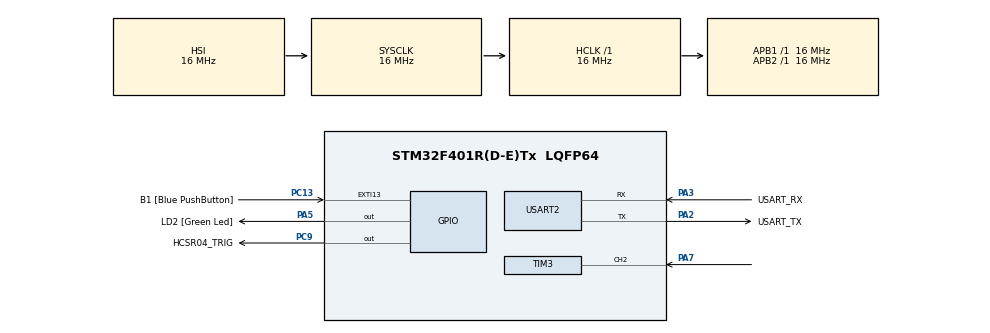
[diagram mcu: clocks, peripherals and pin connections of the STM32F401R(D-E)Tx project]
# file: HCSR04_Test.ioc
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Mcu.Family=STM32F4
Mcu.Name=STM32F401R(D-E)Tx
Mcu.Package=LQFP64
NVIC.PriorityGroup=NVIC_PRIORITYGROUP_4
NVIC.TIM3_IRQn=true\:0\:0\:false\:false\:true\:true\:true\:true
PA13.GPIO_Label=TMS
PA13.Mode=Trace_Asynchronous_SW
PA13.Signal=SYS_JTMS-SWDIO
PA14.GPIO_Label=TCK
PA14.Mode=Trace_Asynchronous_SW
PA14.Signal=SYS_JTCK-SWCLK
PA2.GPIO_Label=USART_TX
PA2.GPIO_Mode=GPIO_MODE_AF_PP
PA2.GPIO_PuPd=GPIO_NOPULL
PA2.GPIO_Speed=GPIO_SPEED_FREQ_LOW
PA2.Mode=Asynchronous
PA2.Signal=USART2_TX
PA3.GPIO_Label=USART_RX
PA3.GPIO_Mode=GPIO_MODE_AF_PP
PA3.GPIO_PuPd=GPIO_NOPULL
PA3.GPIO_Speed=GPIO_SPEED_FREQ_LOW
PA3.Mode=Asynchronous
PA3.Signal=USART2_RX
PA5.GPIO_Label=LD2 [Green Led]
PA5.GPIO_Mode=GPIO_MODE_OUTPUT_PP
PA5.GPIO_PuPd=GPIO_NOPULL
PA5.GPIO_Speed=GPIO_SPEED_FREQ_LOW
PA5.Signal=GPIO_Output
PA7.Signal=S_TIM3_CH2
PB3.GPIO_Label=SWO
PB3.Mode=Trace_Asynchronous_SW
PB3.Signal=SYS_JTDO-SWO
PC13-ANTI_TAMP.GPIO_Label=B1 [Blue PushButton]
PC13-ANTI_TAMP.GPIO_ModeDefaultEXTI=GPIO_MODE_IT_FALLING
PC13-ANTI_TAMP.GPIO_PuPd=GPIO_NOPULL
PC13-ANTI_TAMP.Signal=GPXTI13
PC14-OSC32_IN.Mode=LSE-External-Oscillator
PC14-OSC32_IN.Signal=RCC_OSC32_IN
PC15-OSC32_OUT.Mode=LSE-External-Oscillator
PC15-OSC32_OUT.Signal=RCC_OSC32_OUT
PC9.GPIO_Label=HCSR04_TRIG
PC9.Signal=GPIO_Output
PH0\ -\ OSC_IN.Mode=HSE-External-Clock-Source
PH0\ -\ OSC_IN.Signal=RCC_OSC_IN
PH1\ -\ OSC_OUT.Mode=HSE-External-Clock-Source
PH1\ -\ OSC_OUT.Signal=RCC_OSC_OUT
ProjectManager.HeapSize=0x200
ProjectManager.StackSize=0x400
ProjectManager.TargetToolchain=STM32CubeIDE
RCC.48MHZClocksFreq_Value=48000000
RCC.AHBFreq_Value=16000000
RCC.APB1Freq_Value=16000000
RCC.APB1TimFreq_Value=16000000
RCC.APB2Freq_Value=16000000
RCC.APB2TimFreq_Value=16000000
RCC.CortexFreq_Value=16000000
RCC.HCLKFreq_Value=16000000
RCC.HSE_VALUE=8000000
RCC.HSI_VALUE=16000000
RCC.PLLN=336
RCC.PLLP=RCC_PLLP_DIV4
RCC.PLLQ=7
RCC.SYSCLKFreq_VALUE=16000000
RCC.VCOOutputFreq_Value=336000000
SH.S_TIM3_CH2.0=TIM3_CH2,Input_Capture2_from_TI2
TIM3.Channel-Input_Capture2_from_TI2=TIM_CHANNEL_2
TIM3.ICPolarity_CH2=TIM_INPUTCHANNELPOLARITY_BOTHEDGE
TIM3.Period=65536-1
TIM3.Prescaler=16-1
USART2.VirtualMode=VM_ASYNC
VP_TIM3_VS_ClockSourceINT.Mode=Internal
board=NUCLEO-F401RE

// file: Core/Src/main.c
/* USER CODE BEGIN Header */
/**
  ******************************************************************************
  * @file           : main.c
  * @brief          : Main program body
  ******************************************************************************
  * @attention
  *
  * Copyright (c) 2025 STMicroelectronics.
  * All rights reserved.
  *
  * This software is licensed under terms that can be found in the LICENSE file
  * in the root directory of this software component.
  * If no LICENSE file comes with this software, it is provided AS-IS.
  *
  ******************************************************************************
  */
/* USER CODE END Header */
#include "main.h"

/* USER CODE BEGIN Includes */
#include <string.h>
#include <stdio.h>
/* USER CODE END Includes */

TIM_HandleTypeDef htim3;

UART_HandleTypeDef huart2;

void SystemClock_Config(void);
static void MX_GPIO_Init(void);
static void MX_USART2_UART_Init(void);
static void MX_TIM3_Init(void);
//static void HCSR04_TRIG_PULSE(void); // Declare the pulse generation function

/* USER CODE BEGIN 0 */
volatile uint8_t hcsr04_Rx_flag = 0;
volatile uint8_t 	  first_edge = 0;
volatile uint16_t 	  time_edge1 = 0;
volatile uint16_t 	  time_edge2 = 0;
/* USER CODE END 0 */

int main(void)
{

  /* USER CODE BEGIN 1 */
uint16_t	time_diff = 0;
uint16_t	distance = 0;
uint8_t	txd_msg_buffer[64] = {0};

//subroutine for the hscr04 trig pulse
void HCSR04_TRIG_PULSE(void){
	HAL_GPIO_WritePin(HCSR04_TRIG_GPIO_Port, HCSR04_TRIG_Pin, GPIO_PIN_SET);

	for (volatile int j = 0; j < 160; j++) {
	__NOP(); // high for 10us so that it can transmit ultrasonic burst
	}

	HAL_GPIO_WritePin(HCSR04_TRIG_GPIO_Port, HCSR04_TRIG_Pin, GPIO_PIN_RESET);
}

  /* USER CODE END 1 */

  /* MCU Configuration--------------------------------------------------------*/

  /* Reset of all peripherals, Initializes the Flash interface and the Systick. */
  HAL_Init();

  /* Configure the system clock */
  SystemClock_Config();

  /* Initialize all configured peripherals */
  MX_GPIO_Init();
  MX_USART2_UART_Init();
  MX_TIM3_Init();
  /* USER CODE BEGIN 2 */
//HAL_TIM_Base_Init(&htim3);
HAL_TIM_Base_Start(&htim3);
HAL_TIM_IC_Start_IT(&htim3, TIM_CHANNEL_2);
  /* USER CODE END 2 */

  /* Infinite loop */
  /* USER CODE BEGIN WHILE */
//uint8_t times = 0;
  while (1)
  {
	  hcsr04_Rx_flag = 0;
	  first_edge = 0;
	  time_edge1 = 0;
	  time_edge2 = 0;
	  time_diff = 0;
	  distance = 0;

	  HCSR04_TRIG_PULSE();

	  //sprintf((char*)txd_msg_buffer, " ENTER LOOP %d \r\n", times);

	  //HAL_UART_Transmit(&huart2, txd_msg_buffer, strlen((char*)txd_msg_buffer), 100);
	  //sprintf((char*)txd_msg_buffer, " Done Pulse\r\n", distance);
	  //HAL_UART_Transmit(&huart2, txd_msg_buffer, strlen((char*)txd_msg_buffer), 100); // Send to UART

	  while (hcsr04_Rx_flag == 0); // Wait until echo is received

	  /* Calculate time difference between edges */
	  if (time_edge2 > time_edge1)
	  {
	  time_diff = time_edge2 - time_edge1; // Normal case (no overflow)
	  }
	  else
	  {
	  time_diff = (0xFFFF - time_edge1) + time_edge2; // Handle overflow case
	  }

	  // print pulse width
	  sprintf((char*)txd_msg_buffer, "Pulse Width (usec): %d \r\n", time_diff);
	  HAL_UART_Transmit(&huart2, txd_msg_buffer, strlen((char*)txd_msg_buffer), 100); // Send to UART

	  // distance calc with speed of sound
	  distance = (time_diff * 0.0343) / 2; // speed of sound in air
	  //according to data sheet:
	  //distance = (time_diff/58);

	  // print distance to object
	  sprintf((char*)txd_msg_buffer, "DISTANCE TO OBJECT: %d cm\r\n", distance);
	  HAL_UART_Transmit(&huart2, txd_msg_buffer, strlen((char*)txd_msg_buffer), 100); // Send to UART

	  HAL_Delay(1000); // Wait 1 second before next measurement
	  }
	  }

void SystemClock_Config(void)
{
  RCC_OscInitTypeDef RCC_OscInitStruct = {0};
  RCC_ClkInitTypeDef RCC_ClkInitStruct = {0};

  /** Configure the main internal regulator output voltage
  */
  __HAL_RCC_PWR_CLK_ENABLE();
  __HAL_PWR_VOLTAGESCALING_CONFIG(PWR_REGULATOR_VOLTAGE_SCALE2);

  /** Initializes the RCC Oscillators according to the specified parameters
  * in the RCC_OscInitTypeDef structure.
  */
  RCC_OscInitStruct.OscillatorType = RCC_OSCILLATORTYPE_HSI;
  RCC_OscInitStruct.HSIState = RCC_HSI_ON;
  RCC_OscInitStruct.HSICalibrationValue = RCC_HSICALIBRATION_DEFAULT;
  RCC_OscInitStruct.PLL.PLLState = RCC_PLL_NONE;
  if (HAL_RCC_OscConfig(&RCC_OscInitStruct) != HAL_OK)
  {
    Error_Handler();
  }

  /** Initializes the CPU, AHB and APB buses clocks
  */
  RCC_ClkInitStruct.ClockType = RCC_CLOCKTYPE_HCLK|RCC_CLOCKTYPE_SYSCLK
                              |RCC_CLOCKTYPE_PCLK1|RCC_CLOCKTYPE_PCLK2;
  RCC_ClkInitStruct.SYSCLKSource = RCC_SYSCLKSOURCE_HSI;
  RCC_ClkInitStruct.AHBCLKDivider = RCC_SYSCLK_DIV1;
  RCC_ClkInitStruct.APB1CLKDivider = RCC_HCLK_DIV1;
  RCC_ClkInitStruct.APB2CLKDivider = RCC_HCLK_DIV1;

  if (HAL_RCC_ClockConfig(&RCC_ClkInitStruct, FLASH_LATENCY_0) != HAL_OK)
  {
    Error_Handler();
  }
}

static void MX_TIM3_Init(void)
{

  TIM_ClockConfigTypeDef sClockSourceConfig = {0};
  TIM_MasterConfigTypeDef sMasterConfig = {0};
  TIM_IC_InitTypeDef sConfigIC = {0};

  htim3.Instance = TIM3;
  htim3.Init.Prescaler = 16-1;
  htim3.Init.CounterMode = TIM_COUNTERMODE_UP;
  htim3.Init.Period = 65536-1;
  htim3.Init.ClockDivision = TIM_CLOCKDIVISION_DIV1;
  htim3.Init.AutoReloadPreload = TIM_AUTORELOAD_PRELOAD_DISABLE;
  if (HAL_TIM_Base_Init(&htim3) != HAL_OK)
  {
    Error_Handler();
  }
  sClockSourceConfig.ClockSource = TIM_CLOCKSOURCE_INTERNAL;
  if (HAL_TIM_ConfigClockSource(&htim3, &sClockSourceConfig) != HAL_OK)
  {
    Error_Handler();
  }
  if (HAL_TIM_IC_Init(&htim3) != HAL_OK)
  {
    Error_Handler();
  }
  sMasterConfig.MasterOutputTrigger = TIM_TRGO_RESET;
  sMasterConfig.MasterSlaveMode = TIM_MASTERSLAVEMODE_DISABLE;
  if (HAL_TIMEx_MasterConfigSynchronization(&htim3, &sMasterConfig) != HAL_OK)
  {
    Error_Handler();
  }
  sConfigIC.ICPolarity = TIM_INPUTCHANNELPOLARITY_BOTHEDGE;
  sConfigIC.ICSelection = TIM_ICSELECTION_DIRECTTI;
  sConfigIC.ICPrescaler = TIM_ICPSC_DIV1;
  sConfigIC.ICFilter = 0;
  if (HAL_TIM_IC_ConfigChannel(&htim3, &sConfigIC, TIM_CHANNEL_2) != HAL_OK)
  {
    Error_Handler();
  }

}

static void MX_USART2_UART_Init(void)
{

  huart2.Instance = USART2;
  huart2.Init.BaudRate = 115200;
  huart2.Init.WordLength = UART_WORDLENGTH_8B;
  huart2.Init.StopBits = UART_STOPBITS_1;
  huart2.Init.Parity = UART_PARITY_NONE;
  huart2.Init.Mode = UART_MODE_TX_RX;
  huart2.Init.HwFlowCtl = UART_HWCONTROL_NONE;
  huart2.Init.OverSampling = UART_OVERSAMPLING_16;
  if (HAL_UART_Init(&huart2) != HAL_OK)
  {
    Error_Handler();
  }

}

static void MX_GPIO_Init(void)
{
  GPIO_InitTypeDef GPIO_InitStruct = {0};

  /* GPIO Ports Clock Enable */
  __HAL_RCC_GPIOC_CLK_ENABLE();
  __HAL_RCC_GPIOH_CLK_ENABLE();
  __HAL_RCC_GPIOA_CLK_ENABLE();
  __HAL_RCC_GPIOB_CLK_ENABLE();

  /*Configure GPIO pin Output Level */
  HAL_GPIO_WritePin(LD2_GPIO_Port, LD2_Pin, GPIO_PIN_RESET);

  /*Configure GPIO pin Output Level */
  //HAL_GPIO_WritePin(HCSR04_TRIG_GPIO_Port, HCSR04_TRIG_Pin, GPIO_PIN_RESET);

  /*Configure GPIO pin : B1_Pin */
  GPIO_InitStruct.Pin = B1_Pin;
  GPIO_InitStruct.Mode = GPIO_MODE_IT_FALLING;
  GPIO_InitStruct.Pull = GPIO_NOPULL;
  HAL_GPIO_Init(B1_GPIO_Port, &GPIO_InitStruct);

  /*Configure GPIO pin : LD2_Pin */
  GPIO_InitStruct.Pin = LD2_Pin;
  GPIO_InitStruct.Mode = GPIO_MODE_OUTPUT_PP;
  GPIO_InitStruct.Pull = GPIO_NOPULL;
  GPIO_InitStruct.Speed = GPIO_SPEED_FREQ_LOW;
  HAL_GPIO_Init(LD2_GPIO_Port, &GPIO_InitStruct);

  /*Configure GPIO pin : HCSR04_TRIG_Pin */
  GPIO_InitStruct.Pin = HCSR04_TRIG_Pin;
  GPIO_InitStruct.Mode = GPIO_MODE_OUTPUT_PP;
  GPIO_InitStruct.Pull = GPIO_NOPULL;
  GPIO_InitStruct.Speed = GPIO_SPEED_FREQ_LOW;
  GPIO_InitStruct.Alternate = GPIO_AF3_TIM10;
  HAL_GPIO_Init(HCSR04_TRIG_GPIO_Port, &GPIO_InitStruct);

}

/* USER CODE BEGIN 4 */
void HAL_TIM_IC_CaptureCallback(TIM_HandleTypeDef *htim)
{
	//uint8_t	txd_msg_buffer[64] = {0};
	//sprintf((char*)txd_msg_buffer, "entered interrupt on edge %d\r\n", first_edge);
	//HAL_UART_Transmit(&huart2, txd_msg_buffer, strlen((char*)txd_msg_buffer), 100);
	if (htim->Instance == TIM3)
	{
		if (htim->Channel == HAL_TIM_ACTIVE_CHANNEL_2)
		{
			if (first_edge == 0)	//hasn't captured first edge yet
			{
				//sprintf((char*)txd_msg_buffer, "first edge\r\n");
				//HAL_UART_Transmit(&huart2, txd_msg_buffer, strlen((char*)txd_msg_buffer), 100);
				time_edge1 = HAL_TIM_ReadCapturedValue(htim, TIM_CHANNEL_2);	//read first val
				first_edge = 1;	//set captured first to true
			}
			else
			{
				//sprintf((char*)txd_msg_buffer, "second edge\r\n");
				//HAL_UART_Transmit(&huart2, txd_msg_buffer, strlen((char*)txd_msg_buffer), 100);
				time_edge2 = HAL_TIM_ReadCapturedValue(htim, TIM_CHANNEL_2);	//read second value
				__HAL_TIM_SET_COUNTER(htim, 0);	//reset counter
				hcsr04_Rx_flag = 1;	//set interrupt flag for result done
				first_edge = 0;
			}
		}

	}
}
/* USER CODE END 4 */

void Error_Handler(void)
{
  __disable_irq();
  while (1)
  {
  }
}
